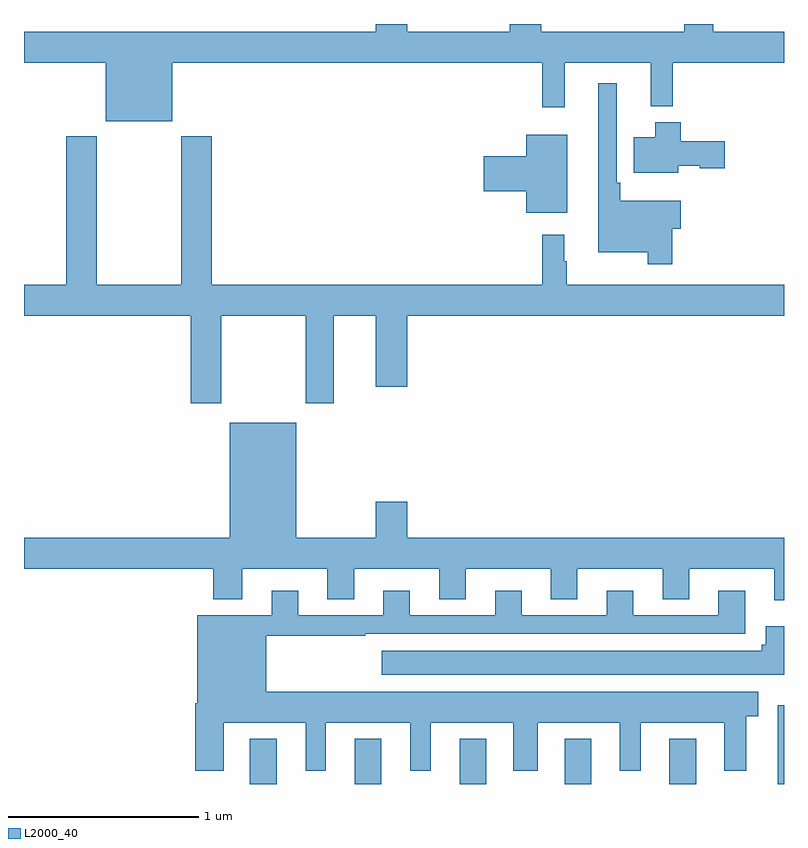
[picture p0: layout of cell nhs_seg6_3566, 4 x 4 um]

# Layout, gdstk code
import gdstk
lib = gdstk.Library(unit=1e-6, precision=1e-09)
def R(c, l, rs):  # rectangles x0, y0, x1, y1
    for r in rs: c.add(gdstk.rectangle(r[:2], r[2:], *l))
def A(c, l, x, y, w, h, nx, ny, dx, dy):  # array of equal rectangles
    R(c, l, [(x+i*dx, y+j*dy, x+i*dx+w, y+j*dy+h) for i in range(nx) for j in range(ny)])
def P(c, l, *ps):  # polygons
    for p in ps: c.add(gdstk.Polygon(p, *l))
L2000_40 = (2000, 40)

nhs_seg6_3566 = lib.new_cell('nhs_seg6_3566')
A(nhs_seg6_3566, L2000_40, 320.189, 983.5, 0.14, 0.237, 5, 1, 0.552, 0)
R(nhs_seg6_3566, L2000_40, [(322.967,983.5,323,983.914)])
P(nhs_seg6_3566, L2000_40, [(319.78,987.296),(321.727,987.296),(321.727,987.063),(321.845,987.063),(321.845,987.296),(322.298,987.296),(322.298,987.068),(322.415,987.068),(322.415,987.296),(323,987.296),(323,987.46),(322.627,987.46),(322.627,987.5),(322.475,987.5),(322.475,987.46),(321.722,987.46),(321.722,987.5),(321.557,987.5),(321.557,987.46),(321.016,987.46),(321.016,987.5),(320.852,987.5),(320.852,987.46),(319,987.46),(319,987.296),(319.43,987.296),(319.43,986.987),(319.78,986.987)],
  [(322.412,986.422),(322.456,986.422),(322.456,986.569),(322.139,986.569),(322.139,986.665),(322.119,986.665),(322.119,987.187),(322.022,987.187),(322.022,986.3),(322.284,986.3),(322.284,986.235),(322.412,986.235)],
  [(322.444,986.753),(322.557,986.753),(322.557,986.741),(322.687,986.741),(322.687,986.883),(322.457,986.883),(322.457,986.983),(322.322,986.983),(322.322,986.905),(322.208,986.905),(322.208,986.717),(322.444,986.717)],
  [(321.859,986.917),(321.644,986.917),(321.644,986.804),(321.42,986.804),(321.42,986.621),(321.644,986.621),(321.644,986.507),(321.859,986.507)],
  [(320.037,985.964),(320.482,985.964),(320.482,985.503),(320.629,985.503),(320.629,985.964),(320.852,985.964),(320.852,985.59),(321.016,985.59),(321.016,985.964),(323,985.964),(323,986.128),(321.856,986.128),(321.856,986.252),(321.844,986.252),(321.844,986.392),(321.727,986.392),(321.727,986.128),(319.988,986.128),(319.988,986.908),(319.828,986.908),(319.828,986.128),(319.383,986.128),(319.383,986.908),(319.223,986.908),(319.223,986.128),(319,986.128),(319,985.964),(319.877,985.964),(319.877,985.503),(320.037,985.503)],
  [(323,984.796),(321.016,984.796),(321.016,984.985),(320.852,984.985),(320.852,984.796),(320.434,984.796),(320.434,985.402),(320.084,985.402),(320.084,984.796),(319,984.796),(319,984.632),(319.997,984.632),(319.997,984.473),(320.149,984.473),(320.149,984.632),(320.597,984.632),(320.597,984.472),(320.737,984.472),(320.737,984.632),(321.185,984.632),(321.185,984.472),(321.325,984.472),(321.325,984.632),(321.773,984.632),(321.773,984.472),(321.913,984.472),(321.913,984.632),(322.361,984.632),(322.361,984.472),(322.501,984.472),(322.501,984.632),(322.949,984.632),(322.949,984.468),(323,984.468)],
  [(320.05,983.822),(320.483,983.822),(320.483,983.571),(320.587,983.571),(320.587,983.822),(321.032,983.822),(321.032,983.571),(321.142,983.571),(321.142,983.822),(321.575,983.822),(321.575,983.571),(321.703,983.571),(321.703,983.822),(322.136,983.822),(322.136,983.571),(322.246,983.571),(322.246,983.822),(322.685,983.822),(322.685,983.571),(322.801,983.571),(322.801,983.857),(322.864,983.857),(322.864,983.986),(320.275,983.986),(320.275,984.279),(320.795,984.279),(320.795,984.291),(322.795,984.291),(322.795,984.517),(322.655,984.517),(322.655,984.387),(322.207,984.387),(322.207,984.517),(322.067,984.517),(322.067,984.387),(321.619,984.387),(321.619,984.517),(321.479,984.517),(321.479,984.387),(321.031,984.387),(321.031,984.517),(320.891,984.517),(320.891,984.387),(320.443,984.387),(320.443,984.517),(320.303,984.517),(320.303,984.388),(319.913,984.388),(319.913,983.926),(319.901,983.926),(319.901,983.571),(320.05,983.571)],
  [(323,984.331),(322.904,984.331),(322.904,984.234),(322.883,984.234),(322.883,984.202),(320.883,984.202),(320.883,984.074),(323,984.074)])

lib.write_gds('nhs_seg6_3566.gds')
